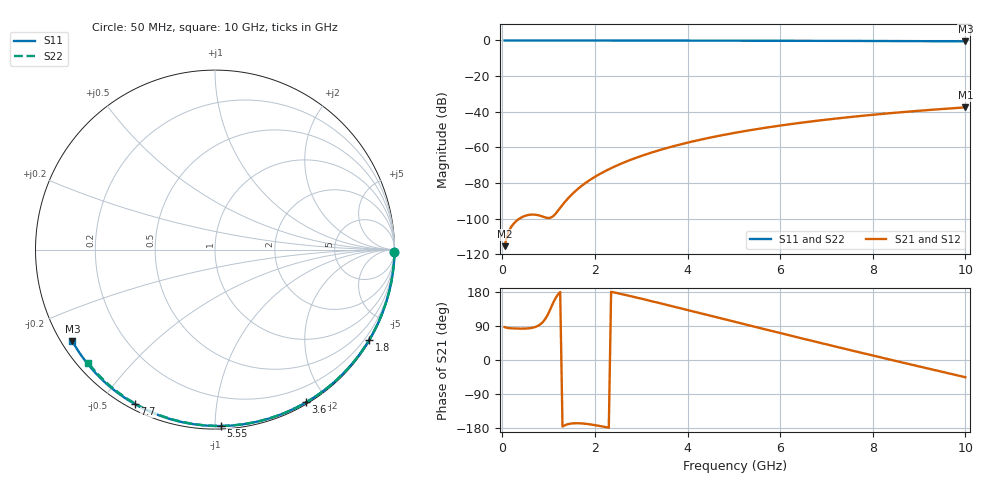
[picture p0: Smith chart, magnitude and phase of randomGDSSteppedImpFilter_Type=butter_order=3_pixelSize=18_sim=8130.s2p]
! freq	dB(S11)	phase(S11)	dB(S12)	phase(S12)
!  dB(S21)	phase(S21)	dB(S22)	phase(S22)
!S-par simulation data
#  GHz  S  DB  R 50
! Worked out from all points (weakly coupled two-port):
!   200 points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, 50 MHz to 10 GHz, reference 50 ohm
!   highest |S21| = -37.59 dB at 10 GHz (marker M1); lowest = -115.5 dB at 50 MHz (marker M2)
!   lowest |S11| = -0.5 dB at 10 GHz (marker M3), VSWR 35.09, Z = 1.55 - j14.7 ohm
!   |S11| at or under -10 dB: nowhere
!   |S22| runs from -0.5 to 0.0 dB; largest |S21 - S12| = 0
!   S11 on the Smith chart (normalised r, x): 50 MHz: open; 1.8 GHz: 0.03, -3.69; 3.6 GHz: 0.02, -1.76; 5.55 GHz: 0.02, -1.03; 7.7 GHz: 0.02, -0.61; 10 GHz: 0.03, -0.29
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0.05  -0.00 -0.9  -115.54 86.8  -115.54 86.8  -0.00 -0.8
0.45  -0.01 -7.7  -98.93 82.8  -98.93 82.8  -0.01 -7.2
0.9  -0.02 -15.3  -99.16 103.6  -99.16 103.6  -0.02 -14.3
1.3  -0.03 -22.0  -92.34 -175.7  -92.34 -175.7  -0.03 -20.6
1.75  -0.04 -29.5  -80.94 -167.7  -80.94 -167.7  -0.04 -27.6
1.8  -0.04 -30.3  -79.99 -168.4  -79.99 -168.4  -0.04 -28.3
1.95  -0.04 -32.8  -77.39 -170.8  -77.39 -170.8  -0.04 -30.6
2.1  -0.04 -35.3  -75.09 -174.0  -75.09 -174.0  -0.04 -32.9
2.3  -0.05 -38.5  -72.36 -178.7  -72.36 -178.7  -0.05 -36.0
2.5  -0.05 -41.8  -69.94 176.0  -69.94 176.0  -0.05 -39.0
2.9  -0.06 -48.2  -65.80 164.8  -65.80 164.8  -0.06 -45.0
3.4  -0.07 -56.1  -61.55 150.1  -61.55 150.1  -0.07 -52.4
3.6  -0.08 -59.2  -60.07 144.1  -60.07 144.1  -0.07 -55.3
4.3  -0.10 -69.8  -55.61 122.8  -55.61 122.8  -0.09 -65.4
5.05  -0.12 -80.9  -51.75 99.9  -51.75 99.9  -0.12 -75.8
5.55  -0.14 -88.0  -49.56 84.7  -49.56 84.7  -0.14 -82.6
6.1  -0.17 -95.8  -47.44 68.1  -47.44 68.1  -0.16 -89.8
6.7  -0.20 -104.0  -45.40 50.1  -45.40 50.1  -0.19 -97.6
7.7  -0.27 -117.4  -42.51 20.6  -42.51 20.6  -0.25 -110.2
8.35  -0.32 -125.9  -40.90 1.7  -40.90 1.7  -0.30 -118.2
9.2  -0.40 -136.9  -39.07 -22.7  -39.07 -22.7  -0.38 -128.5
10  -0.50 -147.2  -37.59 -45.5  -37.59 -45.5  -0.47 -138.2
